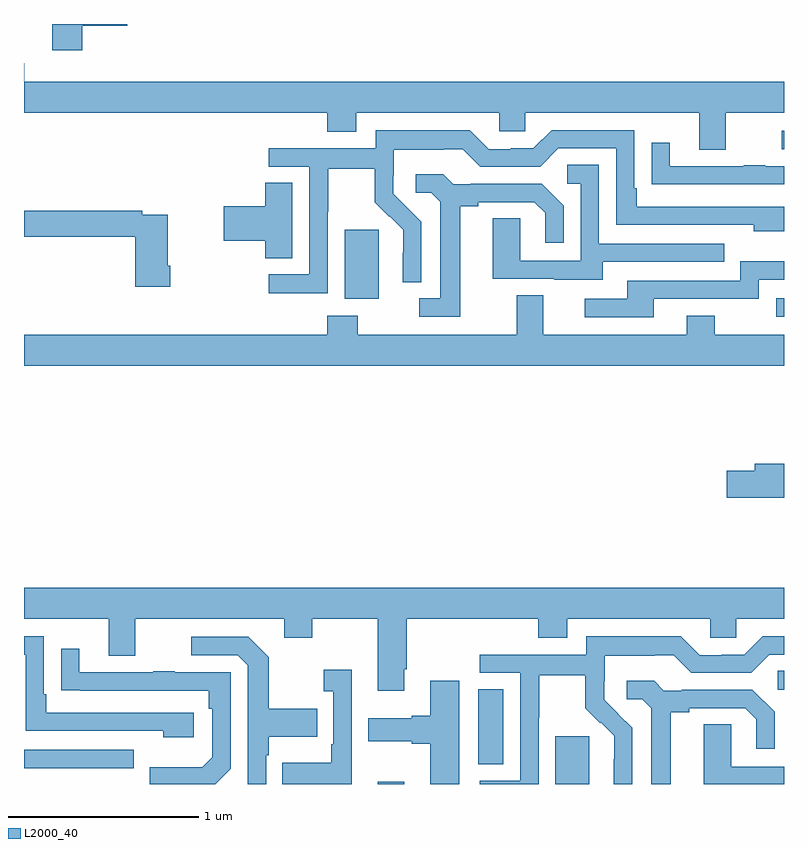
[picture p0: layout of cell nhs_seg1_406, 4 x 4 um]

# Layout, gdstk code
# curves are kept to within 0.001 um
import gdstk
lib = gdstk.Library(unit=1e-6, precision=1e-09)
def R(c, l, rs):  # rectangles x0, y0, x1, y1
    for r in rs: c.add(gdstk.rectangle(r[:2], r[2:], *l))
def P(c, l, *ps):  # polygons
    for p in ps: c.add(gdstk.Polygon(p, *l))
L2000_40 = (2000, 40)

nhs_seg1_406 = lib.new_cell('nhs_seg1_406')
R(nhs_seg1_406, L2000_40, [(134.861,548.199,135.001,548.212), (135.797,548.199,135.976,548.451), (133,548.283,133.577,548.379), (135.392,548.302,135.523,548.699), (136.968,548.694,137,548.795), (136.959,550.659,137,550.755), (134.687,550.754,134.866,551.115), (136.989,551.541,137,551.637)])
P(nhs_seg1_406, L2000_40, [(133.307,552.19),(133.543,552.19),(133.543,552.199),(133.148,552.199),(133.148,552.06),(133.307,552.06)],
  [(136.693,551.732),(137,551.732),(137,551.896),(133.001,551.896),(133.001,551.992),(133,551.992),(133,551.732),(134.597,551.732),(134.597,551.633),(134.749,551.633),(134.749,551.732),(135.501,551.732),(135.501,551.634),(135.639,551.634),(135.639,551.732),(136.553,551.732),(136.553,551.538),(136.693,551.538)],
  [(134.598,551.212),(134.601,551.212),(134.601,551.436),(134.845,551.436),(134.845,551.261),(134.922,551.184),(134.925,551.187),(134.996,551.117),(134.996,550.994),(134.994,550.994),(134.994,550.84),(135.09,550.84),(135.09,551.158),(134.944,551.306),(134.944,551.403),(134.946,551.403),(134.946,551.537),(135.209,551.537),(135.209,551.541),(135.309,551.541),(135.402,551.448),(135.717,551.448),(135.813,551.544),(136.116,551.544),(136.116,551.142),(136.841,551.142),(136.841,551.108),(137,551.108),(137,551.238),(136.225,551.238),(136.225,551.335),(136.212,551.335),(136.212,551.64),(135.777,551.64),(135.681,551.544),(135.563,551.544),(135.563,551.541),(135.447,551.541),(135.347,551.641),(134.85,551.641),(134.85,551.544),(134.289,551.544),(134.289,551.448),(134.502,551.448),(134.502,550.881),(134.289,550.881),(134.289,550.783),(134.598,550.783)],
  [(137,551.451),(136.901,551.451),(136.901,551.456),(136.789,551.456),(136.789,551.451),(136.399,551.451),(136.399,551.575),(136.303,551.575),(136.303,551.356),(136.405,551.356),(136.405,551.355),(137,551.355)],
  [(136.045,550.947),(136.685,550.947),(136.685,551.043),(136.026,551.043),(136.026,551.459),(135.858,551.459),(135.858,551.358),(135.93,551.358),(135.93,550.953),(135.612,550.953),(135.612,551.177),(135.467,551.177),(135.467,550.857),(135.791,550.857),(135.791,550.853),(136.045,550.853)],
  [(135.295,551.24),(135.391,551.24),(135.391,551.262),(135.686,551.262),(135.743,551.205),(135.743,551.049),(135.84,551.049),(135.84,551.242),(135.724,551.358),(135.352,551.358),(135.352,551.355),(135.258,551.355),(135.206,551.407),(135.063,551.407),(135.063,551.31),(135.144,551.31),(135.191,551.263),(135.191,550.755),(135.081,550.755),(135.081,550.659),(135.295,550.659)],
  [(134.413,551.363),(134.27,551.363),(134.27,551.24),(134.052,551.24),(134.052,551.057),(134.27,551.057),(134.27,550.966),(134.413,550.966)],
  [(133.769,550.927),(133.756,550.927),(133.756,551.196),(133.622,551.196),(133.622,551.216),(133,551.216),(133,551.08),(133.586,551.08),(133.586,550.815),(133.769,550.815)],
  [(136.315,550.752),(136.866,550.752),(136.866,550.854),(137,550.854),(137,550.951),(136.77,550.951),(136.77,550.848),(136.175,550.848),(136.175,550.752),(135.951,550.752),(135.951,550.656),(136.315,550.656)],
  [(137,550.564),(136.635,550.564),(136.635,550.663),(136.487,550.663),(136.487,550.564),(135.733,550.564),(135.733,550.772),(135.593,550.772),(135.593,550.564),(134.757,550.564),(134.757,550.663),(134.597,550.663),(134.597,550.564),(133,550.564),(133,550.4),(137,550.4)],
  [(137,549.884),(136.847,549.884),(136.847,549.848),(136.698,549.848),(136.698,549.706),(137,549.706)],
  [(135.001,548.803),(135.014,548.803),(135.014,549.068),(135.707,549.068),(135.707,548.969),(135.859,548.969),(135.859,549.068),(136.611,549.068),(136.611,548.97),(136.749,548.97),(136.749,549.068),(137,549.068),(137,549.232),(133,549.232),(133,549.068),(133.445,549.068),(133.445,548.874),(133.585,548.874),(133.585,549.068),(134.369,549.068),(134.369,548.969),(134.517,548.969),(134.517,549.068),(134.861,549.068),(134.861,548.691),(135.001,548.691)],
  [(135.708,548.548),(135.711,548.548),(135.711,548.772),(135.955,548.772),(135.955,548.597),(136.032,548.52),(136.035,548.523),(136.106,548.453),(136.106,548.33),(136.104,548.33),(136.104,548.199),(136.2,548.199),(136.2,548.494),(136.054,548.642),(136.054,548.739),(136.056,548.739),(136.056,548.873),(136.319,548.873),(136.319,548.877),(136.419,548.877),(136.512,548.784),(136.827,548.784),(136.923,548.88),(137,548.88),(137,548.976),(136.887,548.976),(136.791,548.88),(136.673,548.88),(136.673,548.877),(136.557,548.877),(136.457,548.977),(135.96,548.977),(135.96,548.88),(135.399,548.88),(135.399,548.784),(135.612,548.784),(135.612,548.217),(135.399,548.217),(135.399,548.199),(135.708,548.199)],
  [(133.894,548.574),(133.117,548.574),(133.117,548.671),(133.104,548.671),(133.104,548.976),(133,548.976),(133,548.88),(133.008,548.88),(133.008,548.478),(133.733,548.478),(133.733,548.444),(133.894,548.444)],
  [(134.274,548.351),(134.287,548.351),(134.287,548.447),(134.543,548.447),(134.543,548.595),(134.287,548.595),(134.287,548.867),(134.181,548.973),(133.881,548.973),(133.881,548.877),(134.124,548.877),(134.178,548.823),(134.178,548.199),(134.274,548.199)],
  [(134.088,548.28),(134.088,548.787),(133.793,548.787),(133.793,548.792),(133.681,548.792),(133.681,548.787),(133.291,548.787),(133.291,548.911),(133.195,548.911),(133.195,548.692),(133.972,548.691),(133.972,548.594),(133.992,548.594),(133.992,548.34),(133.939,548.287),(133.662,548.287),(133.662,548.199),(134.007,548.199)],
  [(134.724,548.8),(134.577,548.8),(134.577,548.687),(134.628,548.687),(134.628,548.407),(134.616,548.407),(134.616,548.311),(134.359,548.311),(134.359,548.199),(134.724,548.199)],
  [(135.292,548.743),(135.137,548.743),(135.137,548.558),(135.041,548.558),(135.041,548.545),(134.811,548.545),(134.811,548.423),(135.041,548.423),(135.041,548.411),(135.137,548.411),(135.137,548.199),(135.292,548.199)],
  [(136.405,548.576),(136.501,548.576),(136.501,548.598),(136.796,548.598),(136.853,548.541),(136.853,548.385),(136.95,548.385),(136.95,548.578),(136.834,548.694),(136.462,548.694),(136.462,548.691),(136.368,548.691),(136.316,548.743),(136.173,548.743),(136.173,548.646),(136.254,548.646),(136.301,548.599),(136.301,548.199),(136.405,548.199)],
  [(137,548.289),(136.722,548.289),(136.722,548.513),(136.577,548.513),(136.577,548.199),(137,548.199)])

lib.write_gds('nhs_seg1_406.gds')
